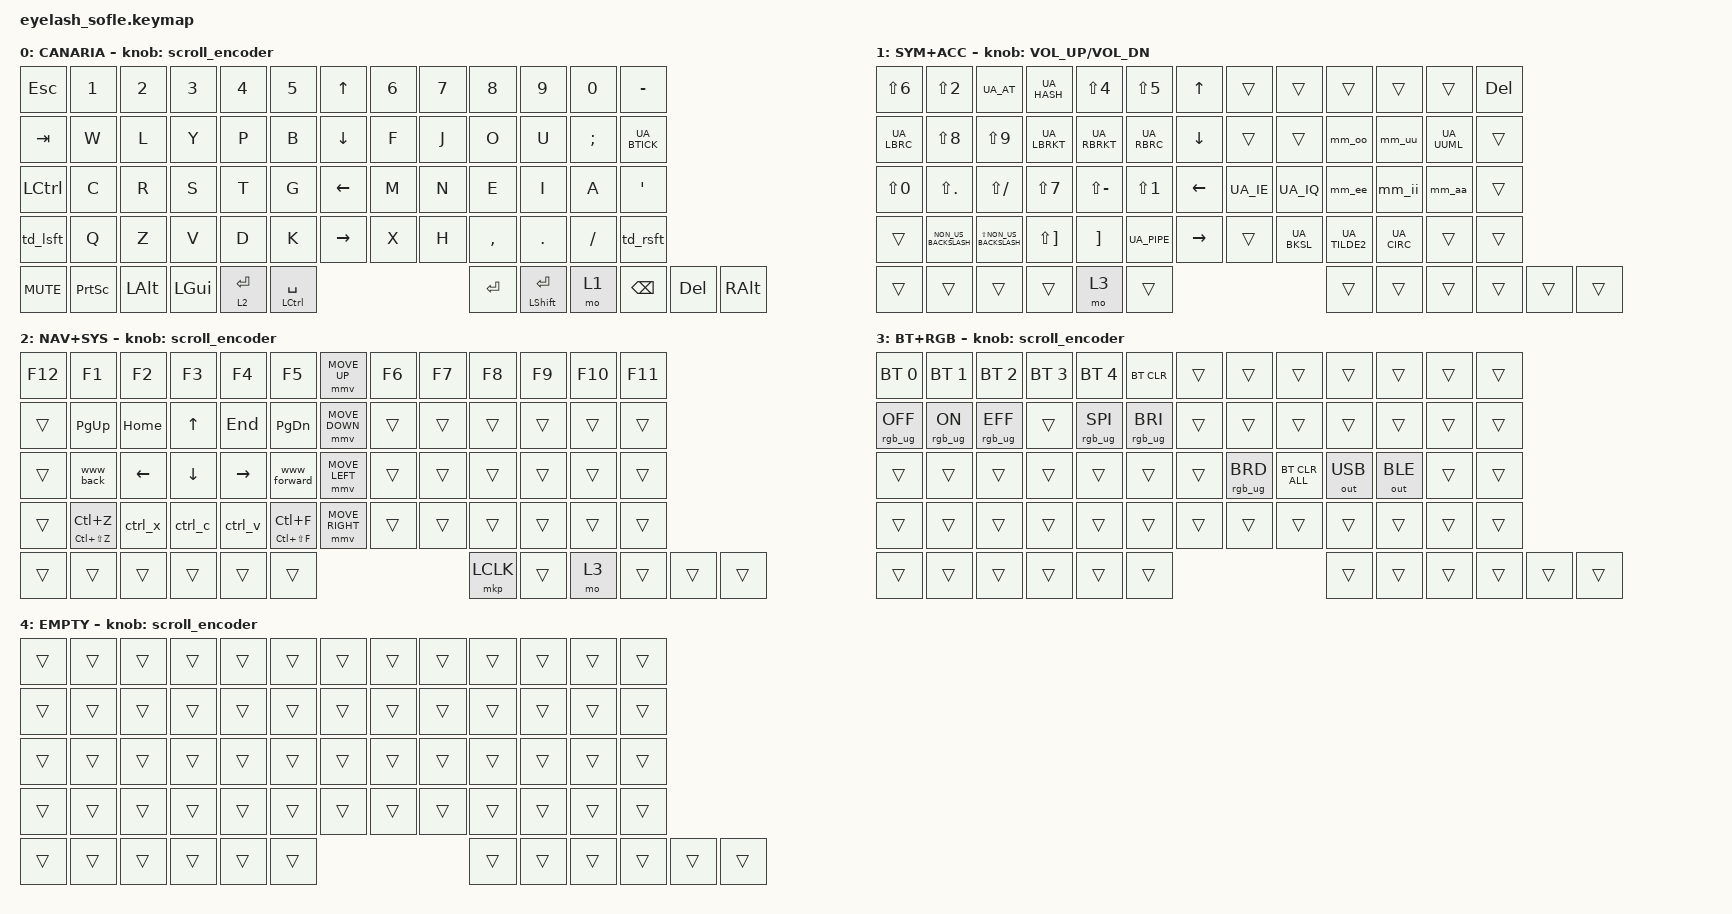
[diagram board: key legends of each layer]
#define ZMK_POINTING_DEFAULT_MOVE_VAL 1200
#define ZMK_POINTING_DEFAULT_SCRL_VAL 25

#include <input/processors.dtsi>
#include <zephyr/dt-bindings/input/input-event-codes.h>
#include <behaviors.dtsi>
#include <behaviors/runtime-sensor-rotate.dtsi>
#include <dt-bindings/zmk/bt.h>
#include <dt-bindings/zmk/keys.h>
#include <dt-bindings/zmk/outputs.h>
#include <dt-bindings/zmk/pointing.h>
#include <dt-bindings/zmk/rgb.h>

&mmv_input_listener { input-processors = <&zip_xy_scaler 2 1>; };

&msc_input_listener { input-processors = <&zip_scroll_scaler 2 1>; };

&msc {
    acceleration-exponent = <1>;
    time-to-max-speed-ms = <100>;
    delay-ms = <0>;
};

&mmv {
    time-to-max-speed-ms = <500>;
    acceleration-exponent = <1>;
    trigger-period-ms = <16>;
};

&soft_off { hold-time-ms = <2000>; };

/ {
    scroll_encoder: scroll_encoder {
        compatible = "zmk,behavior-sensor-rotate";
        #sensor-binding-cells = <0>;
        bindings = <&msc SCRL_DOWN>, <&msc SCRL_UP>;

        tap-ms = <100>;
    };

    behaviors {
        rsr_vol: rsr_vol {
            compatible = "zmk,behavior-runtime-sensor-rotate";
            #sensor-binding-cells = <0>;
            tap-ms = <5>;
            cw-binding = <&kp C_VOL_UP>;
            ccw-binding = <&kp C_VOL_DN>;
        };

        rsr_trans: rsr_trans {
            compatible = "zmk,behavior-runtime-sensor-rotate";
            #sensor-binding-cells = <0>;
            tap-ms = <0>;
        };

        spc_ctrl: spc_ctrl {
            compatible = "zmk,behavior-hold-tap";
            #binding-cells = <2>;
            flavor = "tap-preferred";
            tapping-term-ms = <200>;
            quick-tap-ms = <150>;
            require-prior-idle-ms = <150>;
            bindings = <&kp>, <&kp>;
        };

        ent_sft: ent_sft {
            compatible = "zmk,behavior-hold-tap";
            #binding-cells = <2>;
            flavor = "balanced";
            tapping-term-ms = <200>;
            quick-tap-ms = <150>;
            bindings = <&kp>, <&kp>;
        };

        shift_ht: shift_ht {
            compatible = "zmk,behavior-hold-tap";
            #binding-cells = <2>;
            flavor = "tap-preferred";
            tapping-term-ms = <220>;
            quick-tap-ms = <150>;
            bindings = <&kp>, <&kp>;
        };

        nav_ent: nav_ent {
            compatible = "zmk,behavior-hold-tap";
            #binding-cells = <2>;
            flavor = "tap-preferred";
            tapping-term-ms = <200>;
            bindings = <&mo>, <&kp>;
        };

        mm_aa: mm_aa {
            compatible = "zmk,behavior-mod-morph";
            #binding-cells = <0>;
            bindings = <&UA_AA>, <&UA_AA_UC>;
            mods = <(MOD_LSFT|MOD_RSFT)>;
        };

        mm_ee: mm_ee {
            compatible = "zmk,behavior-mod-morph";
            #binding-cells = <0>;
            bindings = <&UA_EE>, <&UA_EE_UC>;
            mods = <(MOD_LSFT|MOD_RSFT)>;
        };

        mm_ii: mm_ii {
            compatible = "zmk,behavior-mod-morph";
            #binding-cells = <0>;
            bindings = <&UA_II>, <&UA_II_UC>;
            mods = <(MOD_LSFT|MOD_RSFT)>;
        };

        mm_oo: mm_oo {
            compatible = "zmk,behavior-mod-morph";
            #binding-cells = <0>;
            bindings = <&UA_OO>, <&UA_OO_UC>;
            mods = <(MOD_LSFT|MOD_RSFT)>;
        };

        mm_uu: mm_uu {
            compatible = "zmk,behavior-mod-morph";
            #binding-cells = <0>;
            bindings = <&UA_UU>, <&UA_UU_UC>;
            mods = <(MOD_LSFT|MOD_RSFT)>;
        };

        td_lsft: td_lsft {
            compatible = "zmk,behavior-tap-dance";
            #binding-cells = <0>;
            // widened: 200ms default proved too tight for a deliberate double-tap
            tapping-term-ms = <400>;
            bindings = <&kp LSHFT>, <&kp CAPS>;
        };

        td_rsft: td_rsft {
            compatible = "zmk,behavior-tap-dance";
            #binding-cells = <0>;
            // widened: 200ms default proved too tight for a deliberate double-tap
            tapping-term-ms = <400>;
            bindings = <&kp RSHFT>, <&kp CAPS>;
        };
    };

    combos {
        compatible = "zmk,combos";

        softoff {
            bindings = <&soft_off>;
            key-positions = <14 28 40>;
        };
    };

    macros {
        UA_AA: UA_AA {
            compatible = "zmk,behavior-macro";
            #binding-cells = <0>;
            wait-ms = <10>;
            tap-ms = <5>;
            bindings = <&kp APOS>, <&kp A>;
        };
        UA_EE: UA_EE {
            compatible = "zmk,behavior-macro";
            #binding-cells = <0>;
            wait-ms = <10>;
            tap-ms = <5>;
            bindings = <&kp APOS>, <&kp E>;
        };
        UA_II: UA_II {
            compatible = "zmk,behavior-macro";
            #binding-cells = <0>;
            wait-ms = <10>;
            tap-ms = <5>;
            bindings = <&kp APOS>, <&kp I>;
        };
        UA_OO: UA_OO {
            compatible = "zmk,behavior-macro";
            #binding-cells = <0>;
            wait-ms = <10>;
            tap-ms = <5>;
            bindings = <&kp APOS>, <&kp O>;
        };
        UA_UU: UA_UU {
            compatible = "zmk,behavior-macro";
            #binding-cells = <0>;
            wait-ms = <10>;
            tap-ms = <5>;
            bindings = <&kp APOS>, <&kp U>;
        };
        UA_NN: UA_NN {
            compatible = "zmk,behavior-macro";
            #binding-cells = <0>;
            wait-ms = <10>;
            tap-ms = <5>;
            bindings = <&kp LS(GRAVE)>, <&kp N>;
        };
        UA_UUML: UA_UUML {
            compatible = "zmk,behavior-macro";
            #binding-cells = <0>;
            wait-ms = <10>;
            tap-ms = <5>;
            bindings = <&kp LS(APOS)>, <&kp U>;
        };
        UA_AA_UC: UA_AA_UC {
            compatible = "zmk,behavior-macro";
            #binding-cells = <0>;
            wait-ms = <10>;
            tap-ms = <5>;
            bindings = <&kp APOS>, <&kp LS(A)>;
        };
        UA_EE_UC: UA_EE_UC {
            compatible = "zmk,behavior-macro";
            #binding-cells = <0>;
            wait-ms = <10>;
            tap-ms = <5>;
            bindings = <&kp APOS>, <&kp LS(E)>;
        };
        UA_II_UC: UA_II_UC {
            compatible = "zmk,behavior-macro";
            #binding-cells = <0>;
            wait-ms = <10>;
            tap-ms = <5>;
            bindings = <&kp APOS>, <&kp LS(I)>;
        };
        UA_OO_UC: UA_OO_UC {
            compatible = "zmk,behavior-macro";
            #binding-cells = <0>;
            wait-ms = <10>;
            tap-ms = <5>;
            bindings = <&kp APOS>, <&kp LS(O)>;
        };
        UA_UU_UC: UA_UU_UC {
            compatible = "zmk,behavior-macro";
            #binding-cells = <0>;
            wait-ms = <10>;
            tap-ms = <5>;
            bindings = <&kp APOS>, <&kp LS(U)>;
        };
        UA_IE: UA_IE {
            compatible = "zmk,behavior-macro";
            #binding-cells = <0>;
            wait-ms = <5>;
            tap-ms = <5>;
            bindings = <&kp EQUAL>;
        };
        UA_IQ: UA_IQ {
            compatible = "zmk,behavior-macro";
            #binding-cells = <0>;
            wait-ms = <5>;
            tap-ms = <5>;
            bindings = <&kp LS(EQUAL)>;
        };
        UA_BTICK: UA_BTICK {
            compatible = "zmk,behavior-macro";
            #binding-cells = <0>;
            wait-ms = <10>;
            tap-ms = <5>;
            bindings = <&kp LBKT>, <&kp SPACE>;
        };
        ctrl_z: ctrl_z {
            compatible = "zmk,behavior-macro";
            #binding-cells = <0>;
            wait-ms = <5>;
            tap-ms = <5>;
            bindings = <&kp LC(Z)>;
        };
        ctrl_x: ctrl_x {
            compatible = "zmk,behavior-macro";
            #binding-cells = <0>;
            wait-ms = <5>;
            tap-ms = <5>;
            bindings = <&kp LC(X)>;
        };
        ctrl_c: ctrl_c {
            compatible = "zmk,behavior-macro";
            #binding-cells = <0>;
            wait-ms = <5>;
            tap-ms = <5>;
            bindings = <&kp LC(C)>;
        };
        ctrl_v: ctrl_v {
            compatible = "zmk,behavior-macro";
            #binding-cells = <0>;
            wait-ms = <5>;
            tap-ms = <5>;
            bindings = <&kp LC(V)>;
        };
        UA_LBRC: UA_LBRC {
            compatible = "zmk,behavior-macro";
            #binding-cells = <0>;
            wait-ms = <5>;
            tap-ms = <5>;
            bindings = <&kp RA(APOS)>;
        };
        UA_RBRC: UA_RBRC {
            compatible = "zmk,behavior-macro";
            #binding-cells = <0>;
            wait-ms = <5>;
            tap-ms = <5>;
            bindings = <&kp RA(BSLH)>;
        };
        UA_LBRKT: UA_LBRKT {
            compatible = "zmk,behavior-macro";
            #binding-cells = <0>;
            wait-ms = <5>;
            tap-ms = <5>;
            bindings = <&kp RA(LBKT)>;
        };
        UA_RBRKT: UA_RBRKT {
            compatible = "zmk,behavior-macro";
            #binding-cells = <0>;
            wait-ms = <5>;
            tap-ms = <5>;
            bindings = <&kp RA(RBKT)>;
        };
        UA_AT: UA_AT {
            compatible = "zmk,behavior-macro";
            #binding-cells = <0>;
            wait-ms = <5>;
            tap-ms = <5>;
            bindings = <&kp RA(N2)>;
        };
        UA_HASH: UA_HASH {
            compatible = "zmk,behavior-macro";
            #binding-cells = <0>;
            wait-ms = <5>;
            tap-ms = <5>;
            bindings = <&kp RA(N3)>;
        };
        UA_PIPE: UA_PIPE {
            compatible = "zmk,behavior-macro";
            #binding-cells = <0>;
            wait-ms = <5>;
            tap-ms = <5>;
            bindings = <&kp RA(N1)>;
        };
        UA_BKSL: UA_BKSL {
            compatible = "zmk,behavior-macro";
            #binding-cells = <0>;
            wait-ms = <5>;
            tap-ms = <5>;
            bindings = <&kp RA(MINUS)>;
        };
        UA_CIRC: UA_CIRC {
            compatible = "zmk,behavior-macro";
            #binding-cells = <0>;
            wait-ms = <10>;
            tap-ms = <5>;
            bindings = <&kp LS(LBKT)>, <&kp SPACE>;
        };
        UA_TILDE2: UA_TILDE2 {
            compatible = "zmk,behavior-macro";
            #binding-cells = <0>;
            wait-ms = <5>;
            tap-ms = <5>;
            bindings = <&kp RA(N4)>;
        };
        www_back: www_back {
            compatible = "zmk,behavior-macro";
            #binding-cells = <0>;
            wait-ms = <5>;
            tap-ms = <5>;
            bindings = <&kp LA(LEFT)>;
        };
        www_forward: www_forward {
            compatible = "zmk,behavior-macro";
            #binding-cells = <0>;
            wait-ms = <5>;
            tap-ms = <5>;
            bindings = <&kp LA(RIGHT)>;
        };
    };

    keymap {
        compatible = "zmk,keymap";

        layer0 {
            bindings = <
&kp ESC      &kp N1      &kp N2       &kp N3       &kp N4       &kp N5        &kp UP_ARROW     &kp N6       &kp N7       &kp N8       &kp N9        &kp N0          &kp MINUS
&kp TAB      &kp W       &kp L        &kp Y        &kp P        &kp B         &kp DOWN_ARROW   &kp F        &kp J        &kp O        &kp U         &kp SEMI        &UA_BTICK
&kp LCTRL    &kp C       &kp R        &kp S        &kp T        &kp G         &kp LEFT_ARROW   &kp M        &kp N        &kp E        &kp I         &kp A           &kp APOS
&td_lsft    &kp Q       &kp Z        &kp V        &kp D        &kp K         &kp RIGHT_ARROW  &kp X        &kp H        &kp COMMA    &kp DOT       &kp FSLH         &td_rsft
&kp C_MUTE   &kp PSCRN   &kp LALT     &kp LGUI     &nav_ent 2 ENTER  &spc_ctrl LCTRL SPACE     &kp ENTER        &ent_sft LSHFT ENTER    &mo 1               &kp BACKSPACE    &kp DELETE      &kp RALT
            >;

            sensor-bindings = <&scroll_encoder>;
            display-name = "CANARIA";
        };

        layer_1 {
            bindings = <
&kp LS(N6)   &kp LS(N2)  &UA_AT       &UA_HASH     &kp LS(N4)   &kp LS(N5)    &kp UP_ARROW     &trans       &trans        &trans       &trans       &trans      &kp DELETE
&UA_LBRC     &kp LS(N8)  &kp LS(N9)  &UA_LBRKT    &UA_RBRKT    &UA_RBRC      &kp DOWN_ARROW   &trans     &trans       &mm_oo       &mm_uu        &UA_UUML    &trans
&kp LS(N0)   &kp LS(DOT) &kp LS(FSLH) &kp LS(N7)  &kp LS(MINUS) &kp LS(N1)  &kp LEFT_ARROW   &UA_IE       &UA_IQ       &mm_ee       &mm_ii        &mm_aa          &trans
&trans       &kp NON_US_BACKSLASH       &kp LS(NON_US_BACKSLASH)     &kp LS(RBKT) &kp RBKT     &UA_PIPE     &kp RIGHT_ARROW  &trans     &UA_BKSL     &UA_TILDE2    &UA_CIRC      &trans       &trans
&trans       &trans      &trans       &trans        &mo 3       &trans        &trans           &trans       &trans       &trans       &trans        &trans
            >;

            display-name = "SYM+ACC";
            sensor-bindings = <&inc_dec_kp C_VOLUME_UP C_VOL_DN>;
        };

        layer_2 {
            bindings = <
&kp F12           &kp F1            &kp F2            &kp F3            &kp F4            &kp F5            &mmv MOVE_UP       &kp F6   &kp F7  &kp F8  &kp F9  &kp F10  &kp F11
&trans            &kp PG_UP         &kp HOME          &kp UP            &kp END           &kp PG_DN         &mmv MOVE_DOWN     &trans   &trans  &trans  &trans  &trans   &trans
&trans            &www_back         &kp LEFT          &kp DOWN          &kp RIGHT         &www_forward      &mmv MOVE_LEFT     &trans   &trans  &trans  &trans  &trans   &trans
&trans            &shift_ht LC(LS(Z)) LC(Z)           &ctrl_x           &ctrl_c           &ctrl_v           &shift_ht LC(LS(F)) LC(F)         &mmv MOVE_RIGHT    &trans    &trans  &trans  &trans  &trans   &trans
&trans            &trans            &trans            &trans            &trans            &trans             &mkp LCLK      &trans            &mo 3        &trans    &trans    &trans
            >;

            display-name = "NAV+SYS";
            sensor-bindings = <&scroll_encoder>;
        };

        layer_3 {
            bindings = <
&bt BT_SEL 0      &bt BT_SEL 1      &bt BT_SEL 2      &bt BT_SEL 3      &bt BT_SEL 4      &bt BT_CLR        &trans            &trans   &trans   &trans   &trans   &trans    &trans
&rgb_ug RGB_OFF   &rgb_ug RGB_ON    &rgb_ug RGB_EFF   &trans            &rgb_ug RGB_SPI   &rgb_ug RGB_BRI    &trans            &trans   &trans   &trans   &trans   &trans    &trans
&trans            &trans            &trans            &trans            &trans            &trans            &trans            &rgb_ug RGB_BRD  &bt BT_CLR_ALL  &out OUT_USB  &out OUT_BLE  &trans   &trans
&trans            &trans            &trans            &trans            &trans            &trans            &trans            &trans   &trans   &trans   &trans   &trans    &trans
&trans            &trans            &trans            &trans            &trans            &trans            &trans            &trans   &trans   &trans   &trans   &trans
            >;

            display-name = "BT+RGB";
            sensor-bindings = <&scroll_encoder>;
        };

        layer_4 {
            bindings = <
&trans  &trans  &trans  &trans  &trans  &trans    &trans  &trans  &trans  &trans  &trans  &trans  &trans
&trans  &trans  &trans  &trans  &trans  &trans    &trans  &trans  &trans  &trans  &trans  &trans  &trans
&trans  &trans  &trans  &trans  &trans  &trans    &trans  &trans  &trans  &trans  &trans  &trans  &trans
&trans  &trans  &trans  &trans  &trans  &trans    &trans  &trans  &trans  &trans  &trans  &trans  &trans
&trans  &trans  &trans  &trans  &trans  &trans    &trans  &trans  &trans  &trans  &trans  &trans
            >;

            display-name = "EMPTY";
            sensor-bindings = <&scroll_encoder>;
        };
    };
};
